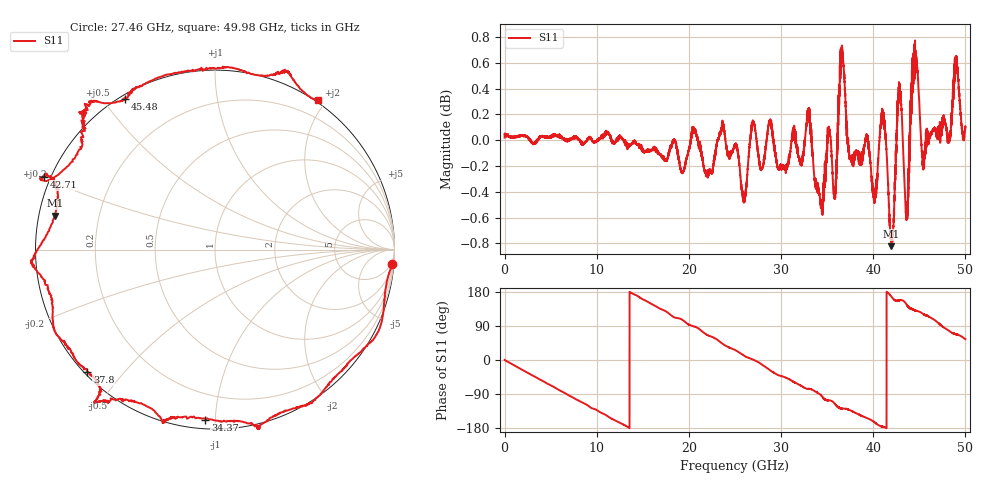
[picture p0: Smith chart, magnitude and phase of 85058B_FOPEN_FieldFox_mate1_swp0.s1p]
!Created with skrf (http://scikit-rf.org).
# Hz S RI R 50.0
!freq ReS11 ImS11
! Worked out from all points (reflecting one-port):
!   10001 points, 300 kHz to 50 GHz, reference 50 ohm
!   lowest |S11| = -0.8 dB at 41.95 GHz (marker M1), VSWR 21.14, Z = 2.39 + j5.24 ohm
!   phase of S11 starts at 0 deg and turns -665 deg over the sweep
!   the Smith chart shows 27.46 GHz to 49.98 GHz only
!   S11 on the Smith chart (normalised r, x): 27.46 GHz: 3, -24; 34.37 GHz: 0.05, -0.94; 37.8 GHz: 0.01, -0.40; 42.71 GHz: -0.02, +0.20; 45.48 GHz: 0.01, +0.57; 49.98 GHz: -0.02, +1.91
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300000  1.002 0.0017
2.630284e9  0.8152 -0.5815
6.250262e9  0.1138 -0.9953
8.935246e9  -0.4775 -0.8786
1.250022e10  -0.9725 -0.2503
1.550021e10  -0.8908 0.4346
1.875019e10  -0.3505 0.925
2.111517e10  0.1409 0.9879
2.369016e10  0.7506 0.6812
2.500015e10  0.8928 0.4417
2.746014e10  0.9874 -0.08
2.910013e10  0.8542 -0.5294
3.125011e10  0.5615 -0.8334
3.28951e10  0.2386 -0.9959
3.436509e10  -0.0543 -0.9467
3.643008e10  -0.6529 -0.8493
3.750008e10  -0.6682 -0.7217
3.779507e10  -0.711 -0.6804
4.093005e10  -1.022 -0.0787
4.195005e10  -0.8898 0.1889
4.271004e10  -0.9512 0.4057
4.327004e10  -0.9027 0.3984
4.375004e10  -0.738 0.5868
4.445503e10  -0.7154 0.8094
4.548003e10  -0.5006 0.8405
4.759501e10  0.0617 1.016
4.998e10  0.5743 0.8304
5e10  0.5789 0.83
